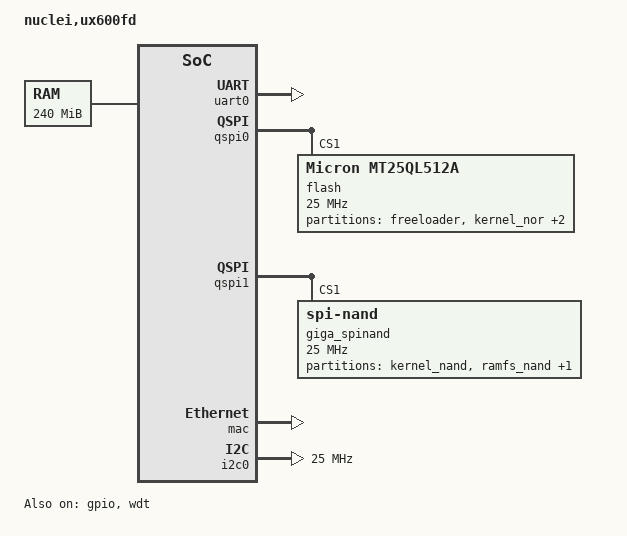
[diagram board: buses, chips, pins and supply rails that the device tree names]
// SPDX-License-Identifier: (GPL-2.0 OR MIT)
/* Copyright (c) 2020 Nuclei System Technologies */

/* Clock frequency (in Hz) of the PCB crystal for rtcclk */
/*#define RTCCLK_FREQ		32768*/

/dts-v1/;

/ {
	#address-cells = <2>;
	#size-cells = <2>;
	compatible = "nuclei,ux600fd";
	model = "nuclei,ux600fd";

	chosen {
		bootargs = "earlycon=sbi console=ttySIF0";
		stdout-path = "serial0";
	};

	aliases {
		serial0 = &uart0;
		serial1 = &uart1;
	};

	cpus {
		#address-cells = <1>;
		#size-cells = <0>;
		timebase-frequency = <48828>;
		
		cpu0: cpu@0 {
			device_type = "cpu";
			reg = <0>;
			status = "okay";
			compatible = "riscv";
			riscv,isa = "rv64imafdc";
			mmu-type = "riscv,sv39";
			clock-frequency = <400000000>;
		
			cpu0_intc: interrupt-controller {
				#interrupt-cells = <1>;
				interrupt-controller;
				compatible = "riscv,cpu-intc";
			};
		};
	};

	memory@41000000 {
		device_type = "memory";
		reg = <0x0 0x41000000 0x0 0xf000000>;
	};

	soc {
		#address-cells = <2>;
		#size-cells = <2>;
		compatible = "nuclei,ux600fd", "simple-bus";
		ranges;
	};

	hfclk: hfclk {
		#clock-cells = <0>;
		compatible = "fixed-clock";
		clock-frequency = <200000000>;
		clock-output-names = "hfclk";
	};
 
 	hfclk2: hfclk2 {
		#clock-cells = <0>;
		compatible = "fixed-clock";
		clock-frequency = <100000000>;
		clock-output-names = "hfclk2";
	};

	console {
		compatible = "sbi,console";
	};

	plic0: interrupt-controller@8000000 {
		#interrupt-cells = <1>;
		compatible = "riscv,plic0";
		interrupt-controller;
		riscv,ndev = <53>;
		interrupts-extended =
		<&cpu0_intc 11 &cpu0_intc 9>;
		reg = <0x0 0x8000000 0x0 0x4000000>;
	};

	uart0: serial@10013000 {
		compatible = "sifive,uart0";
		reg = <0x0 0x10013000 0x0 0x1000>;
		interrupt-parent = <&plic0>;
		interrupts = <2>;
		clocks = <&hfclk2>;
		status = "okay";
	};

	uart1: serial@10012000 {
		compatible = "sifive,uart0";
		reg = <0x0 0x10012000 0x0 0x1000>;
		interrupt-parent = <&plic0>;
		interrupts = <3>;
		clocks = <&hfclk2>;
		status = "disabled";
	};
  
	qspi0: spi@10014000 {
		compatible = "sifive,spi0";
		reg = <0x0 0x10014000 0x0 0x1000>;
		interrupt-parent = <&plic0>;
		interrupts = <5>;
		clocks = <&hfclk2>;
  		num-cs = <1>;
  		#address-cells = <1>;
  		#size-cells = <0>;
		status = "okay";

		flash@1 { 	
  			//compatible = "Macronix,mx25u51245g","jedec,spi-nor";
  			compatible = "Micron,mt25ql512a","jedec,spi-nor";
			reg = <1>;
			spi-tx-bus-width = <1>;
			spi-rx-bus-width = <1>;
			spi-max-frequency = <25000000>;
  			#address-cells = <1>;
  			#size-cells = <1>; 
			//m25p,fast-read;
			
			partition@0 {
				reg = <0x00000000 0x00100000>;
				label = "freeloader";
			};
			
			partition@100000 {
				reg = <0x00100000 0x00400000>;
				label = "kernel_nor";
			};
						
			partition@500000 {
				reg = <0x00500000 0x01400000>;
				label = "ramfs_nor";
			};
			
			partition@1900000 {
				reg = <0x01900000 0x00A00000>;
				label = "jffs2_nor";
			};
			/*
			partition@2300000 {
				reg = <0x02300000 0x00100000>;
				label = "uid";
			};*/	
		};
	};

  	qspi1: spi@10016000 {
		compatible = "sifive,spi0";
		reg = <0x0 0x10016000 0x0 0x1000>;
		interrupt-parent = <&plic0>;
		interrupts = <6>;
		clocks = <&hfclk2>;
		num-cs = <1>;
		#address-cells = <1>;
		#size-cells = <0>;
		status = "okay";
  
		giga_spinand@1 {
	  		#address-cells = <1>;
	  		#size-cells = <1>;   	
			compatible = "spi-nand","GigaDevice,GD5F1GQ4UExxG";
	  		reg = <1>;
	  		spi-max-frequency = <25000000>;
	  		spi-tx-bus-width = <1>;
	  		spi-rx-bus-width = <1>;
			
			partition@0 {
				reg = <0x00000000 0x00400000>;
				label = "kernel_nand";
			};	

			partition@400000 {
				reg = <0x00400000 0x01400000>;
				label = "ramfs_nand";
			};
			
			partition@1800000 {
				//reg = <0x01800000 0x01000000>;	//for ramfs + mount ubifs
				reg = <0x01800000 0x02800000>;		//for ubifs boot
				label = "ubifs_nand";
			};
		};
	};
  
	mac: ethernet@67800000 {
		compatible = "fsl,fsl-mac";
		reg = <0x0 0x67800000 0x0 0x1000>;
		interrupt-parent = <&plic0>;
		interrupts = <10>,<11>,<12>;
		clocks = <&hfclk>;
		num-cs = <1>;
		#address-cells = <1>;
		#size-cells = <0>;
		status = "okay";
	};	

	gpio: gpio@10011000 {
		compatible = "sifive,gpio0";
		interrupt-parent = <&plic0>;
		interrupts = <1>;
		reg = <0x0 0x10011000 0x0 0x1000>;
		gpio-controller;
		#gpio-cells = <2>;
		interrupt-controller;
		#interrupt-cells = <2>;
		clocks = <&hfclk>;
		status = "okay";
	};

	i2c0: ocores@10018000 {
		compatible = "opencores,i2c-ocores";
		#address-cells = <1>;
		#size-cells = <0>;     
		interrupt-parent = <&plic0>;
		interrupts = <4>;
		reg = <0x0 0x10018000 0x0 0x1000>;
		clock-frequency = <25000000>;
	}; 

  	wdt: watchdog@68000000 {
		compatible = "riscv,fsl-wdt";
		reg = <0x0 0x68000000 0x0 0x20>;
		interrupt-parent = <&plic0>;
		interrupts = <8>;
		clocks = <&hfclk>;
		status = "okay";
	};		
};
